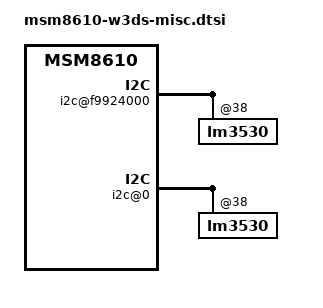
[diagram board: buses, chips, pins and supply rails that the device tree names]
/* Copyright (c) 2012, Code Aurora Forum. All rights reserved.
 *
 * This program is free software; you can redistribute it and/or modify
 * it under the terms of the GNU General Public License version 2 and
 * only version 2 as published by the Free Software Foundation.
 *
 * This program is distributed in the hope that it will be useful,
 * but WITHOUT ANY WARRANTY; without even the implied warranty of
 * MERCHANTABILITY or FITNESS FOR A PARTICULAR PURPOSE.  See the
 * GNU General Public License for more details.
 */

&soc {
	earjack-debugger {
		status = "disable";
	};

	i2c@f9924000 {
		rt8542@39 {
			status = "disable";
		};
        	lm3530@38 {
            		status = "ok";
            		revision = "rev_0";
        	};
		lp5521@32 {
            		status = "disable";
            		revision = "rev_0";
		};
	};

    i2c@0 {
        lm3530@38 {
            status = "ok";
            revision = "rev_a...";
        };
        lp5521@32 {
            status = "disable";
            revision = "rev_a...";
        };
    };
};
